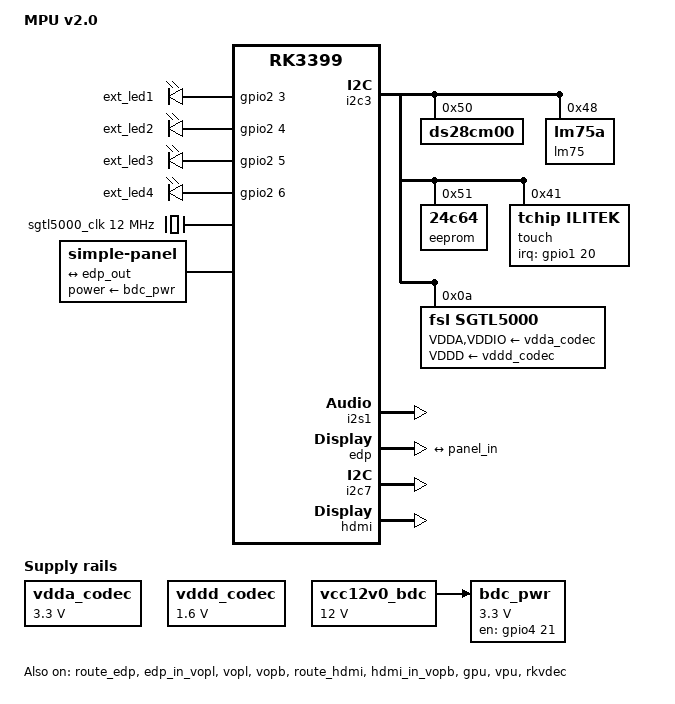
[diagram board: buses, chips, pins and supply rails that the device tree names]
/dts-v1/;

#include "friendlyelec-som-rk3399.dtsi"

/ {
	model = "MPU v2.0";
	compatible = "friendlyelec,rk3399-som", "rockchip,rk3399";

	ext_leds: ext-leds {
		compatible = "gpio-leds";
		pinctrl-names = "default";
		pinctrl-0 =<&ext_leds_gpios>;
		led4 {
			label = "ext_led1";
			gpios = <&gpio2 3 GPIO_ACTIVE_HIGH>;
			linux,default-trigger = "heartbeat";
			linux,default-trigger-delay-ms = <0>;
		};
		led5 {
			label = "ext_led2";
			gpios = <&gpio2 4 GPIO_ACTIVE_HIGH>;
			linux,default-trigger = "heartbeat";
			linux,default-trigger-delay-ms = <0>;
		};
		led6 {
			label = "ext_led3";
			gpios = <&gpio2 5 GPIO_ACTIVE_HIGH>;
			linux,default-trigger = "heartbeat";
			linux,default-trigger-delay-ms = <0>;
		};
		led7 {
			label = "ext_led4";
			gpios = <&gpio2 6 GPIO_ACTIVE_HIGH>;
			linux,default-trigger = "heartbeat";
			linux,default-trigger-delay-ms = <0>;
		};
	};

	// bdc_leds: bdc-leds {
		// led8 {
		// 	label = "bdc_logo";
		// 	gpios = <&gpio_expander 3 GPIO_ACTIVE_HIGH>;
		// 	linux,default-trigger = "default-on";
		// };
		// led9 {
		// 	label = "bdc_menu";
		// 	gpios = <&gpio_expander 7 GPIO_ACTIVE_HIGH>;
		// 	linux,default-trigger = "default-on";
		// };
		// led10 {
		// 	label = "bdc_down";
		// 	gpios = <&gpio_expander 5 GPIO_ACTIVE_HIGH>;
		// 	linux,default-trigger = "default-on";
		// };
		// led11 {
		// 	label = "bdc_up";
		// 	gpios = <&gpio_expander 4 GPIO_ACTIVE_HIGH>;
		// 	linux,default-trigger = "default-on";
		// };
		// led12 {
		// 	label = "bdc_enter";
		// 	gpios = <&gpio_expander 6 GPIO_ACTIVE_HIGH>;
		// 	linux,default-trigger = "default-on";
		// };
	// };
	

	vdda_codec: vdda-codec {
		compatible = "regulator-fixed";
		regulator-name = "vdda_codec";
		regulator-always-on;
		regulator-boot-on;
		regulator-min-microvolt = <3300000>;
		regulator-max-microvolt = <3300000>;
	};

	vddd_codec: vddd-codec {
		compatible = "regulator-fixed";
		regulator-name = "vddd_codec";
		regulator-always-on;
		regulator-boot-on;
		regulator-min-microvolt = <1600000>;
		regulator-max-microvolt = <1600000>;
	};

	sgtl5000_clk: sgtl5000-oscillator  {
			compatible = "fixed-clock";
			#clock-cells = <0>;
			clock-frequency  = <12000000>;
	};

	sgtl5000-sound {
		compatible = "simple-audio-card";
		simple-audio-card,format = "i2s";
		simple-audio-card,name = "Haikou,I2S-codec";
		// 24.576 MHz oscillator on the baseboard, divided by 512 = 48 kHz
		simple-audio-card,mclk-fs = <512>;
		simple-audio-card,cpu {
			sound-dai = <&i2s1>;
			frame-master;
			bitclock-master;
		};
		simple-audio-card,codec {
			sound-dai = <&sgtl5000>;
			clocks = <&sgtl5000_clk>;
		};
	};

	vcc12v0_bdc: vcc5v0-sys {
		compatible = "regulator-fixed";
		regulator-name = "vcc12v0_bdc";
		regulator-always-on;
		regulator-boot-on;
		regulator-min-microvolt = <12000000>;
		regulator-max-microvolt = <12000000>;
	};

	bdc_pwr: bdc-pwr {
		compatible = "regulator-fixed";
		regulator-name = "bdc_pwr";
		gpio = <&gpio4 21 GPIO_ACTIVE_HIGH>;	/* BDC Power - GPIO4_C5 */
		enable-active-high;
		startup-delay-us = <20000>;
		regulator-min-microvolt = <3300000>;
		regulator-max-microvolt = <3300000>;
		regulator-boot-on;
		vin-supply = <&vcc12v0_bdc>;
	};

	panel: panel {
		compatible = "simple-panel";
		power-supply = <&bdc_pwr>;
		prepare-delay-ms = <20>;
		enable-delay-ms = <100>;
		display-timings {
			native-mode = <&timing0>;

			timing0: timing0 {
				clock-frequency = <29500000>;
				hactive = <800>;
				vactive = <480>;
				hfront-porch = <91>;
				hsync-len = <12>;
				hback-porch = <90>;
				vfront-porch = <9>;
				vsync-len = <2>;
				vback-porch = <8>;
				hsync-active = <1>;
				vsync-active = <1>;
				de-active = <1>;
				pixelclk-active = <1>;
			};
		};

		ports {
			panel_in: endpoint {
				remote-endpoint = <&edp_out>;
			};
		};
	};
};

&i2c1 {
	status = "disabled";
};

&i2c2 {
	status = "disabled";
};

&i2c3 {
	ds28cm00@50 {
		status = "okay";
		compatible = "ds28cm00";
		reg = <0x50>;
	};

	lm75@48 {
		status = "okay";
		compatible = "lm75a";
		reg = <0x48>;
	};

	eeprom@51 {
		status = "okay";
		compatible = "24c64";
		reg = <0x51>;
	};

	// gpio_expander: gpio@38 {
	// 	status = "okay";
	// 	compatible = "nxp,pca9534";
	// 	reg = <0x38>;
	// 	gpio-controller;
	// 	#gpio-cells = <2>;
	// 	gpio-line-name = "lcd_run", 
	// 			"touch_rst", 
	// 			"deserializer_pd", 
	// 			"logo_led", 
	// 			"menu_led", "down_led", "up_led", "enter_led";
	// };

/* Removed this to gain serializer - deserializer access in applicaiton */
	// lvds-link2-bridge@6e {
	// 	status = "okay";
	// 	compatible = "ti,ds92lv0421";
	// 	reg = <0x6e>;
	// 	pd-gpios = <&gpio_expander 0 GPIO_ACTIVE_HIGH>;
	// };

	// link2-lvds-bridge@76 {
	// 	status = "okay";
	// 	compatible = "ti,ds92lv0422";
	// 	reg = <0x76>;
	// 	pd-gpio = <&gpio_expander 2 GPIO_ACTIVE_HIGH>;
	// };

	touch: ilitek@41 {
		status = "okay";
		compatible = "tchip,ilitek";
		reg = <0x41>;
		// vdd-supply = <&deserializer_pwr>;
		interrupt-parent = <&gpio1>;
		interrupts = <20 IRQ_TYPE_LEVEL_LOW>;
		ilitek,irq-gpio = <&gpio1 20 GPIO_ACTIVE_HIGH>;
		// ilitek,reset-gpio = <&gpio_expander 1 GPIO_ACTIVE_HIGH>;
		// ilitek,vbus = "vcc_i2c";
		// ilitek,vdd = "vdd";
		// ilitek,name = "ilitek_i2c";
	};

	sgtl5000: codec@0a {
		status = "okay";
		#sound-dai-cells = <0>;
		compatible = "fsl,sgtl5000";
		reg = <0x0a>;
		VDDA-supply = <&vdda_codec>;
		VDDIO-supply = <&vdda_codec>;
		VDDD-supply = <&vddd_codec>;
		clocks = <&sgtl5000_clk>;
	};
};

&i2s0 {
	status = "disabled";
};

&i2s1 {
	status = "okay";
	rockchip,i2s-broken-burst-len;
	rockchip,playback-channels = <2>;
	rockchip,capture-channels = <2>;
	#sound-dai-cells = <0>;
};

&i2s2 {
	status = "disabled";
};

&route_edp {
	status = "okay";
	logo,mode = "center";
};
&edp_in_vopl {
	status = "okay";
};

&edp_in_vopb {
	status = "disabled";
};

&vopl {
	status = "okay";
};
&vopl_mmu {
	status = "okay";
};

&edp {
	status = "okay";
	force-hpd;
	/delete-property/ pinctrl-0;

	ports {
		port@1 {
			reg = <1>;

			edp_out: endpoint {
				remote-endpoint = <&panel_in>;
			};
		};
	};
};

/* HDMI */
&i2c7 {
	status = "okay";
};
&vopb {
	status = "okay";
};
&vopb_mmu {
	status = "okay";
};
&hdmi {
	status = "okay";
	/* remove the hdmi_i2c_xfer */
	pinctrl-0 = <&hdmi_cec>;
	#address-cells = <1>;
	#size-cells = <0>;
	#sound-dai-cells = <0>;
	ddc-i2c-bus = <&i2c7>;
	rockchip,defaultmode = <16>; /* CEA 1920x1080@60Hz */
};
&route_hdmi {
	status = "okay";
	logo,mode = "center";
};
&hdmi_in_vopl {
	status = "disabled";	/* This should be disabled always */
};
&hdmi_in_vopb {
	status = "okay";
};
/* HDMI */

&gpu {
	status = "okay";
	mali-supply = <&vdd_gpu>;
};

&vpu {
	status = "okay";
	/* 0 means ion, 1 means drm */
	//allocator = <0>;
};

&rkvdec {
	status = "okay";
	/* 0 means ion, 1 means drm */
	//allocator = <0>;
};


&cdn_dp {
	status = "disabled";
};

&spdif {
	status = "disabled";
};

&pinctrl {

	leds {
		ext_leds_gpios: ext-leds-gpios {
			rockchip,pins =
				<2 3 RK_FUNC_GPIO &pcfg_output_high>,
				<2 4 RK_FUNC_GPIO &pcfg_output_high>,
				<2 5 RK_FUNC_GPIO &pcfg_output_high>,
				<2 6 RK_FUNC_GPIO &pcfg_output_high>;
		};
	};
	
	mpu {

		control_gpios: control-gpios {
			rockchip,pins =
				<1 0 RK_FUNC_GPIO &pcfg_pull_none>,	// LM75 interrupt
				<1 1 RK_FUNC_GPIO &pcfg_pull_up>,	// Modem power
				<1 2 RK_FUNC_GPIO &pcfg_pull_up>,	// ext USB power
				<1 3 RK_FUNC_GPIO &pcfg_pull_up>,	// OLED Power
				<1 18 RK_FUNC_GPIO &pcfg_pull_up>,	// Speaker or Mic
				<1 22 RK_FUNC_GPIO &pcfg_pull_up>,	// SATA Bridge VBUS
				<1 23 RK_FUNC_GPIO &pcfg_pull_up>,	// ext +12
				<1 24 RK_FUNC_GPIO &pcfg_pull_up>,	// modem reset
				<4 21 RK_FUNC_GPIO &pcfg_pull_up>,	// bdc +12
				<1 10 RK_FUNC_GPIO &pcfg_pull_up>,	// OLED CS
				<4 29 RK_FUNC_GPIO &pcfg_pull_up>,	// OLED rst
				<4 30 RK_FUNC_GPIO &pcfg_pull_up>,	// OLED DC
				<1 20 RK_FUNC_GPIO &pcfg_pull_none>;	// touch interrupt
		};
	};
};
